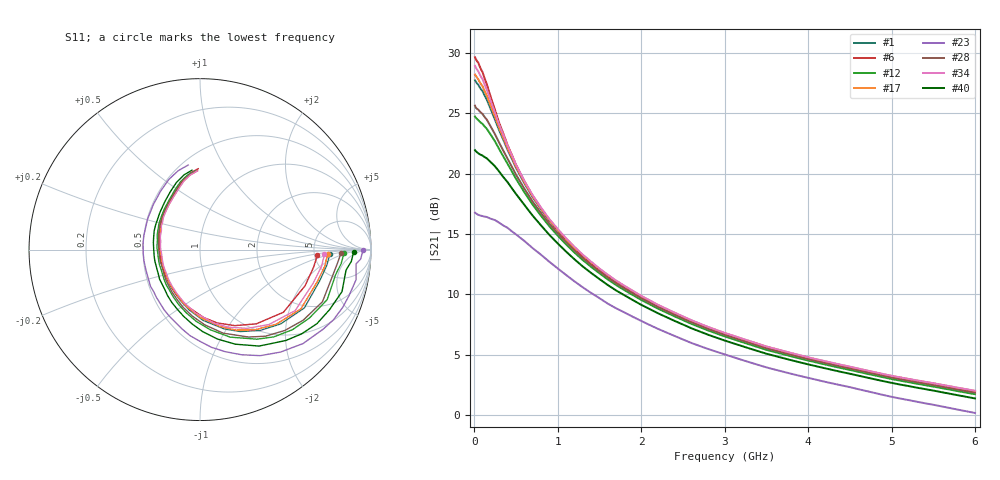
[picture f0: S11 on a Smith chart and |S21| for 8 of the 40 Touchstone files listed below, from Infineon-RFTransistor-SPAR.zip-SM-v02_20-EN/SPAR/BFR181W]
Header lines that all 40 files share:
! Infineon Technologies  Discrete & RF Semiconductors
! BFR181W
! Common Emitter S-Parameters:  Jan 2017
# GHz  S  MA  R  50
!  f  S11  S21  S12  S22
! GHz  MAG  ANG  MAG  ANG  MAG  ANG  MAG  ANG
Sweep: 10 MHz to 6 GHz
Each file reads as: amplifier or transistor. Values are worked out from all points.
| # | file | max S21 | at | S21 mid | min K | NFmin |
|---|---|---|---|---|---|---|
| 1 | BFR181W_w_noise_VCE_9.0V_IC_10mA.s2p | 27.8 dB | 10 MHz | 9.1 dB at 2.2 GHz | 0.01 | 1.24 dB |
| 2 | BFR181W_w_noise_VCE_9.0V_IC_11mA.s2p | 28.3 dB | 10 MHz | 9.1 dB at 2.2 GHz | 0.04 | 1.29 dB |
| 3 | BFR181W_w_noise_VCE_9.0V_IC_12mA.s2p | 28.7 dB | 10 MHz | 9.1 dB at 2.2 GHz | 0.04 | 1.34 dB |
| 4 | BFR181W_w_noise_VCE_9.0V_IC_13mA.s2p | 29.1 dB | 10 MHz | 9.1 dB at 2.2 GHz | -0.01 | 1.39 dB |
| 5 | BFR181W_w_noise_VCE_9.0V_IC_14mA.s2p | 29.4 dB | 10 MHz | 9.1 dB at 2.2 GHz | 0.03 | 1.43 dB |
| 6 | BFR181W_w_noise_VCE_9.0V_IC_15mA.s2p | 29.7 dB | 10 MHz | 9.0 dB at 2.2 GHz | -0.01 | 1.47 dB |
| 7 | BFR181W_w_noise_VCE_10.V_IC_1.0mA.s2p | 11.1 dB | 10 MHz | 5.0 dB at 2.2 GHz | -0.16 | 0.87 dB |
| 8 | BFR181W_w_noise_VCE_10.V_IC_2.0mA.s2p | 16.8 dB | 10 MHz | 7.1 dB at 2.2 GHz | -0.11 | 0.84 dB |
| 9 | BFR181W_w_noise_VCE_10.V_IC_3.0mA.s2p | 19.9 dB | 10 MHz | 7.9 dB at 2.2 GHz | -0.04 | 0.87 dB |
| 10 | BFR181W_w_noise_VCE_10.V_IC_4.0mA.s2p | 22.0 dB | 10 MHz | 8.4 dB at 2.2 GHz | -0.09 | 0.92 dB |
| 11 | BFR181W_w_noise_VCE_10.V_IC_5.0mA.s2p | 23.5 dB | 10 MHz | 8.6 dB at 2.2 GHz | -0.08 | 0.97 dB |
| 12 | BFR181W_w_noise_VCE_10.V_IC_6.0mA.s2p | 24.7 dB | 10 MHz | 8.8 dB at 2.2 GHz | 0.04 | 1.03 dB |
| 13 | BFR181W_w_noise_VCE_10.V_IC_7.0mA.s2p | 25.7 dB | 10 MHz | 8.9 dB at 2.2 GHz | 0.02 | 1.08 dB |
| 14 | BFR181W_w_noise_VCE_10.V_IC_8.0mA.s2p | 26.5 dB | 10 MHz | 9.0 dB at 2.2 GHz | 0.09 | 1.14 dB |
| 15 | BFR181W_w_noise_VCE_10.V_IC_9.0mA.s2p | 27.2 dB | 10 MHz | 9.1 dB at 2.2 GHz | 0.08 | 1.18 dB |
| 16 | BFR181W_w_noise_VCE_10.V_IC_10mA.s2p | 27.7 dB | 10 MHz | 9.1 dB at 2.2 GHz | 0.05 | 1.24 dB |
| 17 | BFR181W_w_noise_VCE_10.V_IC_11mA.s2p | 28.2 dB | 10 MHz | 9.1 dB at 2.2 GHz | 0.04 | 1.29 dB |
| 18 | BFR181W_w_noise_VCE_10.V_IC_12mA.s2p | 28.7 dB | 10 MHz | 9.1 dB at 2.2 GHz | 0.07 | 1.34 dB |
| 19 | BFR181W_w_noise_VCE_10.V_IC_13mA.s2p | 29.0 dB | 10 MHz | 9.1 dB at 2.2 GHz | -0.02 | 1.39 dB |
| 20 | BFR181W_w_noise_VCE_10.V_IC_14mA.s2p | 29.4 dB | 10 MHz | 9.1 dB at 2.2 GHz | -0.02 | 1.43 dB |
| 21 | BFR181W_w_noise_VCE_10.V_IC_15mA.s2p | 29.6 dB | 10 MHz | 9.1 dB at 2.2 GHz | 0.14 | 1.47 dB |
| 22 | BFR181W_w_noise_VCE_11.V_IC_1.0mA.s2p | 11.1 dB | 10 MHz | 5.0 dB at 2.2 GHz | -0.08 | 0.87 dB |
| 23 | BFR181W_w_noise_VCE_11.V_IC_2.0mA.s2p | 16.8 dB | 10 MHz | 7.1 dB at 2.2 GHz | 0.03 | 0.84 dB |
| 24 | BFR181W_w_noise_VCE_11.V_IC_3.0mA.s2p | 19.9 dB | 10 MHz | 8.0 dB at 2.2 GHz | -0.14 | 0.87 dB |
| 25 | BFR181W_w_noise_VCE_11.V_IC_4.0mA.s2p | 22.0 dB | 10 MHz | 8.4 dB at 2.2 GHz | -0.12 | 0.92 dB |
| 26 | BFR181W_w_noise_VCE_11.V_IC_5.0mA.s2p | 23.5 dB | 10 MHz | 8.7 dB at 2.2 GHz | 0.00 | 0.97 dB |
| 27 | BFR181W_w_noise_VCE_11.V_IC_6.0mA.s2p | 24.7 dB | 10 MHz | 8.8 dB at 2.2 GHz | 0.07 | 1.03 dB |
| 28 | BFR181W_w_noise_VCE_11.V_IC_7.0mA.s2p | 25.6 dB | 10 MHz | 8.9 dB at 2.2 GHz | 0.02 | 1.08 dB |
| 29 | BFR181W_w_noise_VCE_11.V_IC_8.0mA.s2p | 26.4 dB | 10 MHz | 9.0 dB at 2.2 GHz | 0.03 | 1.14 dB |
| 30 | BFR181W_w_noise_VCE_11.V_IC_9.0mA.s2p | 27.1 dB | 10 MHz | 9.1 dB at 2.2 GHz | 0.02 | 1.18 dB |
| 31 | BFR181W_w_noise_VCE_11.V_IC_10mA.s2p | 27.7 dB | 10 MHz | 9.1 dB at 2.2 GHz | 0.03 | 1.24 dB |
| 32 | BFR181W_w_noise_VCE_11.V_IC_11mA.s2p | 28.2 dB | 10 MHz | 9.1 dB at 2.2 GHz | 0.17 | 1.29 dB |
| 33 | BFR181W_w_noise_VCE_11.V_IC_12mA.s2p | 28.6 dB | 10 MHz | 9.1 dB at 2.2 GHz | -0.03 | 1.34 dB |
| 34 | BFR181W_w_noise_VCE_11.V_IC_13mA.s2p | 28.9 dB | 10 MHz | 9.1 dB at 2.2 GHz | 0.07 | 1.39 dB |
| 35 | BFR181W_w_noise_VCE_11.V_IC_14mA.s2p | 29.3 dB | 10 MHz | 9.1 dB at 2.2 GHz | 0.02 | 1.43 dB |
| 36 | BFR181W_w_noise_VCE_11.V_IC_15mA.s2p | 29.5 dB | 10 MHz | 9.1 dB at 2.2 GHz | 0.12 | 1.47 dB |
| 37 | BFR181W_w_noise_VCE_12.V_IC_1.0mA.s2p | 11.1 dB | 10 MHz | 5.0 dB at 2.2 GHz | -0.02 | 0.87 dB |
| 38 | BFR181W_w_noise_VCE_12.V_IC_2.0mA.s2p | 16.8 dB | 10 MHz | 7.2 dB at 2.2 GHz | 0.03 | 0.84 dB |
| 39 | BFR181W_w_noise_VCE_12.V_IC_3.0mA.s2p | 19.9 dB | 10 MHz | 8.0 dB at 2.2 GHz | -0.01 | 0.87 dB |
| 40 | BFR181W_w_noise_VCE_12.V_IC_4.0mA.s2p | 22.0 dB | 10 MHz | 8.4 dB at 2.2 GHz | 0.02 | 0.92 dB |

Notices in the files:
Hoja de datos/BFP 450/Infineon-RFTransistor-SPAR.zip-SM-v02_20-EN/SPAR/BFR181W/BFR181W_w_noise_VCE_10.V_IC_1.0mA.s2p:
(c) 2017  Infineon Technologies AG, Munich
